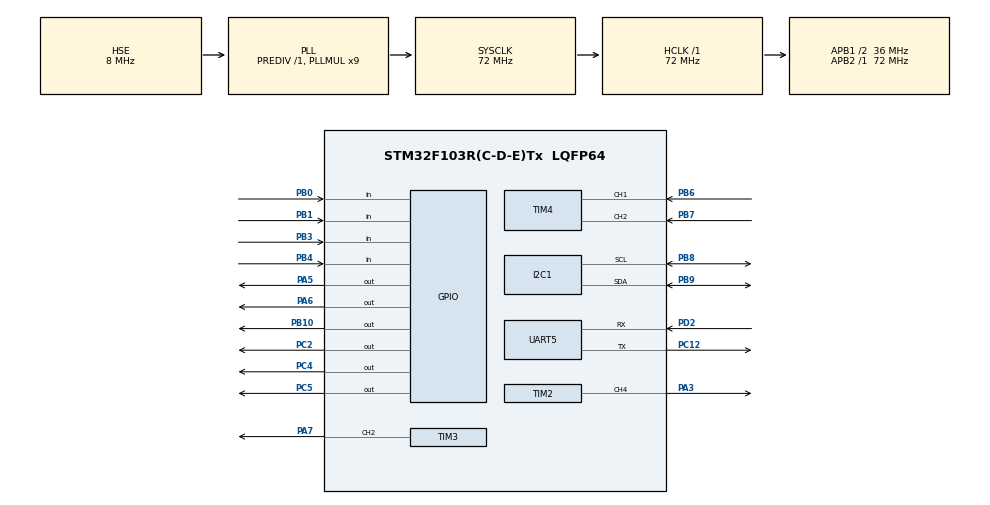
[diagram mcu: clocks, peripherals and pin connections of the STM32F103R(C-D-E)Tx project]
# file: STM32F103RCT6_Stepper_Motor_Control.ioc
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FREERTOS.Tasks01=defaultTask,0,128,StartDefaultTask,Default,NULL,Dynamic,NULL,NULL;ROTARY_ENCODER,-3,128,ROTARY_ENCODER_TASK_RUN,Default,NULL,Dynamic,NULL,NULL;STEPPER_MOTOR_T,-3,128,STEPPER_MOTOR_TASK_RUN,Default,NULL,Dynamic,NULL,NULL
Mcu.Family=STM32F1
Mcu.Name=STM32F103R(C-D-E)Tx
Mcu.Package=LQFP64
NVIC.PriorityGroup=NVIC_PRIORITYGROUP_4
NVIC.UART5_IRQn=true\:5\:0\:false\:false\:true\:true\:true\:true
PA13.Mode=Serial_Wire
PA13.Signal=SYS_JTMS-SWDIO
PA14.Mode=Serial_Wire
PA14.Signal=SYS_JTCK-SWCLK
PA3.Signal=S_TIM2_CH4
PA5.Signal=GPIO_Output
PA6.Signal=GPIO_Output
PA7.Signal=S_TIM3_CH2
PB0.Signal=GPIO_Input
PB1.Signal=GPIO_Input
PB10.Signal=GPIO_Output
PB3.Signal=GPIO_Input
PB4.Signal=GPIO_Input
PB6.Signal=S_TIM4_CH1
PB7.Signal=S_TIM4_CH2
PB8.Mode=I2C
PB8.Signal=I2C1_SCL
PB9.Mode=I2C
PB9.Signal=I2C1_SDA
PC12.Mode=Asynchronous
PC12.Signal=UART5_TX
PC2.Signal=GPIO_Output
PC4.Signal=GPIO_Output
PC5.Signal=GPIO_Output
PD0-OSC_IN.Mode=HSE-External-Oscillator
PD0-OSC_IN.Signal=RCC_OSC_IN
PD1-OSC_OUT.Mode=HSE-External-Oscillator
PD1-OSC_OUT.Signal=RCC_OSC_OUT
PD2.Mode=Asynchronous
PD2.Signal=UART5_RX
ProjectManager.HeapSize=0x200
ProjectManager.StackSize=0x400
ProjectManager.TargetToolchain=EWARM V8.32
RCC.AHBFreq_Value=72000000
RCC.APB1CLKDivider=RCC_HCLK_DIV2
RCC.APB1Freq_Value=36000000
RCC.APB1TimFreq_Value=72000000
RCC.APB2Freq_Value=72000000
RCC.APB2TimFreq_Value=72000000
RCC.HCLKFreq_Value=72000000
RCC.PLLMUL=RCC_PLL_MUL9
RCC.PLLSourceVirtual=RCC_PLLSOURCE_HSE
RCC.SYSCLKFreq_VALUE=72000000
RCC.SYSCLKSource=RCC_SYSCLKSOURCE_PLLCLK
RCC.USBFreq_Value=72000000
SH.S_TIM2_CH4.0=TIM2_CH4,PWM Generation4 CH4
SH.S_TIM3_CH2.0=TIM3_CH2,PWM Generation2 CH2
SH.S_TIM4_CH1.0=TIM4_CH1,Encoder_Interface
SH.S_TIM4_CH2.0=TIM4_CH2,Encoder_Interface
TIM2.AutoReloadPreload=TIM_AUTORELOAD_PRELOAD_ENABLE
TIM2.Channel-PWM\ Generation4\ CH4=TIM_CHANNEL_4
TIM2.Period=2600-1
TIM2.Prescaler=64-1
TIM3.AutoReloadPreload=TIM_AUTORELOAD_PRELOAD_ENABLE
TIM3.Channel-PWM\ Generation2\ CH2=TIM_CHANNEL_2
TIM3.Period=2600-1
TIM3.Prescaler=64-1
TIM4.EncoderMode=TIM_ENCODERMODE_TI12
TIM4.IC1Filter=10
TIM4.IC2Filter=10
UART5.VirtualMode=Asynchronous
VP_FREERTOS_VS_CMSIS_V1.Mode=CMSIS_V1
VP_TIM2_VS_ClockSourceINT.Mode=Internal
VP_TIM3_VS_ClockSourceINT.Mode=Internal
board=custom

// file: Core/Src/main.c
/* USER CODE BEGIN Header */
/**
  ******************************************************************************
  * @file           : main.c
  * @brief          : Main program body
  ******************************************************************************
  * @attention
  *
  * <h2><center>&copy; Copyright (c) 2021 STMicroelectronics.
  * All rights reserved.</center></h2>
  *
  * This software component is licensed by ST under BSD 3-Clause license,
  * the "License"; You may not use this file except in compliance with the
  * License. You may obtain a copy of the License at:
  *                        opensource.org/licenses/BSD-3-Clause
  *
  ******************************************************************************
  */
/* USER CODE END Header */
#include "main.h"
#include "cmsis_os.h"

/* USER CODE BEGIN Includes */
#include "APPLICATION_SETTINGS.h"
#include "LEDs/main_app_led.h"
#include "LCD_PCF8574/i2c-lcd.h"
#include "QUEUEs/queue_type.h"
#include "ROTARY_ENCODER/rotary_encoder_state_mashine.h"
#include "STEPPER_MOTOR/stepper_motor_state_mashine.h"
#include "STEPPER_MOTOR/execute_stepper_motor.h"
#include <stdio.h>
/* USER CODE END Includes */

I2C_HandleTypeDef hi2c1;

TIM_HandleTypeDef htim2;
TIM_HandleTypeDef htim3;
TIM_HandleTypeDef htim4;

UART_HandleTypeDef huart5;

osThreadId defaultTaskHandle;
osThreadId ROTARY_ENCODERHandle;
osThreadId STEPPER_MOTOR_THandle;
/* USER CODE BEGIN PV */
TIM_HandleTypeDef *Encoder_Timer = NULL;
UART_HandleTypeDef *Debug_UART = NULL;
osMessageQDef(MsgBox, 16, QUEUE_MOTOR_t);              // Define message queue
extern osMessageQId  MsgBox;
/* USER CODE END PV */

void SystemClock_Config(void);
static void MX_GPIO_Init(void);
static void MX_TIM4_Init(void);
static void MX_TIM2_Init(void);
static void MX_TIM3_Init(void);
static void MX_I2C1_Init(void);
static void MX_UART5_Init(void);
void StartDefaultTask(void const * argument);
void ROTARY_ENCODER_TASK_RUN(void const * argument);
void STEPPER_MOTOR_TASK_RUN(void const * argument);

/* USER CODE BEGIN 0 */
void MAIN_APP_INIT(void)
{
  ROTARY_ENCODER_Init_Reference_Motor_Object_Ready(STEPPER_MOTOR_Get_Motor_Object_Ready_Flag);
}
/* USER CODE END 0 */

int main(void)
{
  /* USER CODE BEGIN 1 */
  volatile uint32_t start_del = 0;
  for(start_del = 0; start_del < 0x001FFFFF; start_del++) {};
  /* USER CODE END 1 */

  /* MCU Configuration--------------------------------------------------------*/

  /* Reset of all peripherals, Initializes the Flash interface and the Systick. */
  HAL_Init();

  /* Configure the system clock */
  SystemClock_Config();

  /* Initialize all configured peripherals */
  MX_GPIO_Init();
  MX_TIM4_Init();
  MX_TIM2_Init();
  MX_TIM3_Init();
  MX_I2C1_Init();
  MX_UART5_Init();
  /* USER CODE BEGIN 2 */
  HAL_Delay(500);

  Encoder_Timer = &htim4;
  // HAL_TIM_Encoder_Start(&htim4, TIM_CHANNEL_ALL);
  // HAL_Delay(500);

  htim3.Instance->ARR = 50000;  // set period
  htim3.Instance->CCR2 = 0;     // set duty
  // HAL_TIM_PWM_Start(&htim3, TIM_CHANNEL_2);

  htim2.Instance->ARR = 40000;  // set period
  htim2.Instance->CCR4 = 0;     // set duty
  // HAL_TIM_PWM_Start(&htim2, TIM_CHANNEL_4);

  SET_BIT(huart5.Instance->CR1, (USART_CR1_RXNEIE)); // Enable uart5 RX interrupt
  Debug_UART = &huart5;

  HAL_GPIO_WritePin(GPIOB, GPIO_PIN_10, GPIO_PIN_RESET); // Enable sn74hc541
  HAL_Delay(500);

  MAIN_APP_INIT();

  lcd_init ();
  HAL_Delay(500);
  // lcd_clear ();
  // lcd_put_cur(0, 0);
  lcd_send_string ("Potato planting");
  HAL_Delay(1000);
  lcd_put_cur(1, 0);
  lcd_send_string("machine");
  HAL_Delay(2000);
  // lcd_clear ();
  lcd_put_cur(0, 0);

  /* USER CODE END 2 */

  /* USER CODE BEGIN RTOS_QUEUES */
   MsgBox = osMessageCreate(osMessageQ(MsgBox), NULL);  // create msg queue
  /* USER CODE END RTOS_QUEUES */

  /* Create the thread(s) */
  /* definition and creation of defaultTask */
  osThreadDef(defaultTask, StartDefaultTask, osPriorityNormal, 0, 128);
  defaultTaskHandle = osThreadCreate(osThread(defaultTask), NULL);

  /* definition and creation of ROTARY_ENCODER */
  osThreadDef(ROTARY_ENCODER, ROTARY_ENCODER_TASK_RUN, osPriorityIdle, 0, 128);
  ROTARY_ENCODERHandle = osThreadCreate(osThread(ROTARY_ENCODER), NULL);

  /* definition and creation of STEPPER_MOTOR_T */
  osThreadDef(STEPPER_MOTOR_T, STEPPER_MOTOR_TASK_RUN, osPriorityIdle, 0, 128);
  STEPPER_MOTOR_THandle = osThreadCreate(osThread(STEPPER_MOTOR_T), NULL);

  /* USER CODE BEGIN RTOS_THREADS */
  /* add threads, ... */
  HAL_UART_Transmit(Debug_UART, "\r\n ... RUN OS ... \r\n", sizeof("\r\n ... RUN OS ... \r\n"), 10);
  /* USER CODE END RTOS_THREADS */

  /* Start scheduler */
  osKernelStart();

  /* We should never get here as control is now taken by the scheduler */
  /* Infinite loop */
  /* USER CODE BEGIN WHILE */
  while (1)
  {
    htim3.Instance->CCR2 = 300;   // set duty
    htim2.Instance->CCR4 = 0;     // set duty

    HAL_GPIO_WritePin(GPIOA, GPIO_PIN_3, GPIO_PIN_SET);
    HAL_GPIO_WritePin(GPIOA, GPIO_PIN_5, GPIO_PIN_SET);
    HAL_GPIO_WritePin(GPIOA, GPIO_PIN_6, GPIO_PIN_SET);
    HAL_GPIO_WritePin(GPIOA, GPIO_PIN_7, GPIO_PIN_SET);

    HAL_GPIO_WritePin(GPIOB, GPIO_PIN_0, GPIO_PIN_SET);
    HAL_GPIO_WritePin(GPIOB, GPIO_PIN_1, GPIO_PIN_SET);

    HAL_GPIO_WritePin(GPIOC, GPIO_PIN_2, GPIO_PIN_SET);
    HAL_GPIO_WritePin(GPIOC, GPIO_PIN_4, GPIO_PIN_SET);
    HAL_GPIO_WritePin(GPIOC, GPIO_PIN_5, GPIO_PIN_SET);
    HAL_Delay(500);

    htim3.Instance->CCR2 = 0;     // set duty
    htim2.Instance->CCR4 = 300;   // set duty

    HAL_GPIO_WritePin(GPIOA, GPIO_PIN_3, GPIO_PIN_RESET);
    HAL_GPIO_WritePin(GPIOA, GPIO_PIN_5, GPIO_PIN_RESET);
    HAL_GPIO_WritePin(GPIOA, GPIO_PIN_6, GPIO_PIN_RESET);
    HAL_GPIO_WritePin(GPIOA, GPIO_PIN_7, GPIO_PIN_RESET);

    HAL_GPIO_WritePin(GPIOB, GPIO_PIN_0, GPIO_PIN_RESET);
    HAL_GPIO_WritePin(GPIOB, GPIO_PIN_1, GPIO_PIN_RESET);

    HAL_GPIO_WritePin(GPIOC, GPIO_PIN_2, GPIO_PIN_RESET);
    HAL_GPIO_WritePin(GPIOC, GPIO_PIN_4, GPIO_PIN_RESET);
    HAL_GPIO_WritePin(GPIOC, GPIO_PIN_5, GPIO_PIN_RESET);
    HAL_Delay(500);
    /* USER CODE END WHILE */

  }
}

void SystemClock_Config(void)
{
  RCC_OscInitTypeDef RCC_OscInitStruct = {0};
  RCC_ClkInitTypeDef RCC_ClkInitStruct = {0};

  /** Initializes the RCC Oscillators according to the specified parameters
  * in the RCC_OscInitTypeDef structure.
  */
  RCC_OscInitStruct.OscillatorType = RCC_OSCILLATORTYPE_HSE;
  RCC_OscInitStruct.HSEState = RCC_HSE_ON;
  RCC_OscInitStruct.HSEPredivValue = RCC_HSE_PREDIV_DIV1;
  RCC_OscInitStruct.HSIState = RCC_HSI_ON;
  RCC_OscInitStruct.PLL.PLLState = RCC_PLL_ON;
  RCC_OscInitStruct.PLL.PLLSource = RCC_PLLSOURCE_HSE;
  RCC_OscInitStruct.PLL.PLLMUL = RCC_PLL_MUL9;
  if (HAL_RCC_OscConfig(&RCC_OscInitStruct) != HAL_OK)
  {
    Error_Handler();
  }
  /** Initializes the CPU, AHB and APB buses clocks
  */
  RCC_ClkInitStruct.ClockType = RCC_CLOCKTYPE_HCLK|RCC_CLOCKTYPE_SYSCLK
                              |RCC_CLOCKTYPE_PCLK1|RCC_CLOCKTYPE_PCLK2;
  RCC_ClkInitStruct.SYSCLKSource = RCC_SYSCLKSOURCE_PLLCLK;
  RCC_ClkInitStruct.AHBCLKDivider = RCC_SYSCLK_DIV1;
  RCC_ClkInitStruct.APB1CLKDivider = RCC_HCLK_DIV2;
  RCC_ClkInitStruct.APB2CLKDivider = RCC_HCLK_DIV1;

  if (HAL_RCC_ClockConfig(&RCC_ClkInitStruct, FLASH_LATENCY_2) != HAL_OK)
  {
    Error_Handler();
  }
}

static void MX_I2C1_Init(void)
{

  hi2c1.Instance = I2C1;
  hi2c1.Init.ClockSpeed = 100000;
  hi2c1.Init.DutyCycle = I2C_DUTYCYCLE_2;
  hi2c1.Init.OwnAddress1 = 0;
  hi2c1.Init.AddressingMode = I2C_ADDRESSINGMODE_7BIT;
  hi2c1.Init.DualAddressMode = I2C_DUALADDRESS_DISABLE;
  hi2c1.Init.OwnAddress2 = 0;
  hi2c1.Init.GeneralCallMode = I2C_GENERALCALL_DISABLE;
  hi2c1.Init.NoStretchMode = I2C_NOSTRETCH_DISABLE;
  if (HAL_I2C_Init(&hi2c1) != HAL_OK)
  {
    Error_Handler();
  }

}

static void MX_TIM2_Init(void)
{

  TIM_ClockConfigTypeDef sClockSourceConfig = {0};
  TIM_MasterConfigTypeDef sMasterConfig = {0};
  TIM_OC_InitTypeDef sConfigOC = {0};

  htim2.Instance = TIM2;
  htim2.Init.Prescaler = 64-1;
  htim2.Init.CounterMode = TIM_COUNTERMODE_UP;
  htim2.Init.Period = 2600-1;
  htim2.Init.ClockDivision = TIM_CLOCKDIVISION_DIV1;
  htim2.Init.AutoReloadPreload = TIM_AUTORELOAD_PRELOAD_ENABLE;
  if (HAL_TIM_Base_Init(&htim2) != HAL_OK)
  {
    Error_Handler();
  }
  sClockSourceConfig.ClockSource = TIM_CLOCKSOURCE_INTERNAL;
  if (HAL_TIM_ConfigClockSource(&htim2, &sClockSourceConfig) != HAL_OK)
  {
    Error_Handler();
  }
  if (HAL_TIM_PWM_Init(&htim2) != HAL_OK)
  {
    Error_Handler();
  }
  sMasterConfig.MasterOutputTrigger = TIM_TRGO_RESET;
  sMasterConfig.MasterSlaveMode = TIM_MASTERSLAVEMODE_DISABLE;
  if (HAL_TIMEx_MasterConfigSynchronization(&htim2, &sMasterConfig) != HAL_OK)
  {
    Error_Handler();
  }
  sConfigOC.OCMode = TIM_OCMODE_PWM1;
  sConfigOC.Pulse = 0;
  sConfigOC.OCPolarity = TIM_OCPOLARITY_HIGH;
  sConfigOC.OCFastMode = TIM_OCFAST_DISABLE;
  if (HAL_TIM_PWM_ConfigChannel(&htim2, &sConfigOC, TIM_CHANNEL_4) != HAL_OK)
  {
    Error_Handler();
  }
  HAL_TIM_MspPostInit(&htim2);

}

static void MX_TIM3_Init(void)
{

  TIM_ClockConfigTypeDef sClockSourceConfig = {0};
  TIM_MasterConfigTypeDef sMasterConfig = {0};
  TIM_OC_InitTypeDef sConfigOC = {0};

  htim3.Instance = TIM3;
  htim3.Init.Prescaler = 64-1;
  htim3.Init.CounterMode = TIM_COUNTERMODE_UP;
  htim3.Init.Period = 2600-1;
  htim3.Init.ClockDivision = TIM_CLOCKDIVISION_DIV1;
  htim3.Init.AutoReloadPreload = TIM_AUTORELOAD_PRELOAD_ENABLE;
  if (HAL_TIM_Base_Init(&htim3) != HAL_OK)
  {
    Error_Handler();
  }
  sClockSourceConfig.ClockSource = TIM_CLOCKSOURCE_INTERNAL;
  if (HAL_TIM_ConfigClockSource(&htim3, &sClockSourceConfig) != HAL_OK)
  {
    Error_Handler();
  }
  if (HAL_TIM_PWM_Init(&htim3) != HAL_OK)
  {
    Error_Handler();
  }
  sMasterConfig.MasterOutputTrigger = TIM_TRGO_RESET;
  sMasterConfig.MasterSlaveMode = TIM_MASTERSLAVEMODE_DISABLE;
  if (HAL_TIMEx_MasterConfigSynchronization(&htim3, &sMasterConfig) != HAL_OK)
  {
    Error_Handler();
  }
  sConfigOC.OCMode = TIM_OCMODE_PWM1;
  sConfigOC.Pulse = 0;
  sConfigOC.OCPolarity = TIM_OCPOLARITY_HIGH;
  sConfigOC.OCFastMode = TIM_OCFAST_DISABLE;
  if (HAL_TIM_PWM_ConfigChannel(&htim3, &sConfigOC, TIM_CHANNEL_2) != HAL_OK)
  {
    Error_Handler();
  }
  HAL_TIM_MspPostInit(&htim3);

}

static void MX_TIM4_Init(void)
{

  TIM_Encoder_InitTypeDef sConfig = {0};
  TIM_MasterConfigTypeDef sMasterConfig = {0};

  htim4.Instance = TIM4;
  htim4.Init.Prescaler = 0;
  htim4.Init.CounterMode = TIM_COUNTERMODE_UP;
  htim4.Init.Period = 65535;
  htim4.Init.ClockDivision = TIM_CLOCKDIVISION_DIV1;
  htim4.Init.AutoReloadPreload = TIM_AUTORELOAD_PRELOAD_DISABLE;
  sConfig.EncoderMode = TIM_ENCODERMODE_TI12;
  sConfig.IC1Polarity = TIM_ICPOLARITY_RISING;
  sConfig.IC1Selection = TIM_ICSELECTION_DIRECTTI;
  sConfig.IC1Prescaler = TIM_ICPSC_DIV1;
  sConfig.IC1Filter = 10;
  sConfig.IC2Polarity = TIM_ICPOLARITY_RISING;
  sConfig.IC2Selection = TIM_ICSELECTION_DIRECTTI;
  sConfig.IC2Prescaler = TIM_ICPSC_DIV1;
  sConfig.IC2Filter = 10;
  if (HAL_TIM_Encoder_Init(&htim4, &sConfig) != HAL_OK)
  {
    Error_Handler();
  }
  sMasterConfig.MasterOutputTrigger = TIM_TRGO_RESET;
  sMasterConfig.MasterSlaveMode = TIM_MASTERSLAVEMODE_DISABLE;
  if (HAL_TIMEx_MasterConfigSynchronization(&htim4, &sMasterConfig) != HAL_OK)
  {
    Error_Handler();
  }

}

static void MX_UART5_Init(void)
{

  huart5.Instance = UART5;
  huart5.Init.BaudRate = 115200;
  huart5.Init.WordLength = UART_WORDLENGTH_8B;
  huart5.Init.StopBits = UART_STOPBITS_1;
  huart5.Init.Parity = UART_PARITY_NONE;
  huart5.Init.Mode = UART_MODE_TX_RX;
  huart5.Init.HwFlowCtl = UART_HWCONTROL_NONE;
  huart5.Init.OverSampling = UART_OVERSAMPLING_16;
  if (HAL_UART_Init(&huart5) != HAL_OK)
  {
    Error_Handler();
  }

}

static void MX_GPIO_Init(void)
{
  GPIO_InitTypeDef GPIO_InitStruct = {0};

  /* GPIO Ports Clock Enable */
  __HAL_RCC_GPIOD_CLK_ENABLE();
  __HAL_RCC_GPIOC_CLK_ENABLE();
  __HAL_RCC_GPIOA_CLK_ENABLE();
  __HAL_RCC_GPIOB_CLK_ENABLE();

  /*Configure GPIO pin Output Level */
  HAL_GPIO_WritePin(GPIOC, GPIO_PIN_2|GPIO_PIN_4|GPIO_PIN_5, GPIO_PIN_RESET);

  /*Configure GPIO pin Output Level */
  HAL_GPIO_WritePin(GPIOA, GPIO_PIN_5|GPIO_PIN_6, GPIO_PIN_RESET);

  /*Configure GPIO pin Output Level */
  HAL_GPIO_WritePin(GPIOB, GPIO_PIN_10, GPIO_PIN_RESET);

  /*Configure GPIO pins : PC2 PC4 PC5 */
  GPIO_InitStruct.Pin = GPIO_PIN_2|GPIO_PIN_4|GPIO_PIN_5;
  GPIO_InitStruct.Mode = GPIO_MODE_OUTPUT_PP;
  GPIO_InitStruct.Pull = GPIO_NOPULL;
  GPIO_InitStruct.Speed = GPIO_SPEED_FREQ_LOW;
  HAL_GPIO_Init(GPIOC, &GPIO_InitStruct);

  /*Configure GPIO pins : PA5 PA6 */
  GPIO_InitStruct.Pin = GPIO_PIN_5|GPIO_PIN_6;
  GPIO_InitStruct.Mode = GPIO_MODE_OUTPUT_PP;
  GPIO_InitStruct.Pull = GPIO_NOPULL;
  GPIO_InitStruct.Speed = GPIO_SPEED_FREQ_LOW;
  HAL_GPIO_Init(GPIOA, &GPIO_InitStruct);

  /*Configure GPIO pins : PB0 PB1 PB3 PB4 */
  GPIO_InitStruct.Pin = GPIO_PIN_0|GPIO_PIN_1|GPIO_PIN_3|GPIO_PIN_4;
  GPIO_InitStruct.Mode = GPIO_MODE_INPUT;
  GPIO_InitStruct.Pull = GPIO_NOPULL;
  HAL_GPIO_Init(GPIOB, &GPIO_InitStruct);

  /*Configure GPIO pin : PB10 */
  GPIO_InitStruct.Pin = GPIO_PIN_10;
  GPIO_InitStruct.Mode = GPIO_MODE_OUTPUT_PP;
  GPIO_InitStruct.Pull = GPIO_NOPULL;
  GPIO_InitStruct.Speed = GPIO_SPEED_FREQ_LOW;
  HAL_GPIO_Init(GPIOB, &GPIO_InitStruct);

}

void StartDefaultTask(void const * argument)
{
  for(;;)
  {
    osDelay(1);
  }
}

void ROTARY_ENCODER_TASK_RUN(void const * argument)
{
  /* USER CODE BEGIN ROTARY_ENCODER_TASK_RUN */
  // HAL_UART_Transmit(Debug_UART, "RUN ROTARY_ENCODER_Init_State_Mashine\r\n", sizeof("RUN ROTARY_ENCODER_Init_State_Mashine\r\n"), 10);

  ROTARY_ENCODER_Init_State_Mashine();

  HAL_TIM_Encoder_Start(&htim4, TIM_CHANNEL_ALL);
  osDelay(1000);
  /* Infinite loop */
  HAL_UART_Transmit(Debug_UART, "RUN_ENCODER_THREAD\r\n", sizeof("RUN_ENCODER_THREAD\r\n"), 10);
  for(;;)
  {
    ROTARY_ENCODER_Run_State_Mashine();

    // HAL_GPIO_WritePin(GPIOC, GPIO_PIN_13, GPIO_PIN_RESET);  // Led on Board
    osDelay(os_delay_rotary_encoder);
    // HAL_GPIO_WritePin(GPIOC, GPIO_PIN_13, GPIO_PIN_SET);   // Led on Board
  }
  /* USER CODE END ROTARY_ENCODER_TASK_RUN */
}

void STEPPER_MOTOR_TASK_RUN(void const * argument)
{
  /* USER CODE BEGIN STEPPER_MOTOR_TASK_RUN */
  // HAL_UART_Transmit(Debug_UART, "RUN_STEPPER_MOTOR_Init_State_Mashine\r\n", sizeof("RUN_STEPPER_MOTOR_Init_State_Mashine\r\n"), 10);
  STEPPER_MOTOR_Init_State_Mashine();

  htim3.Instance->CCR2 = 300;   // set duty
  htim3.Instance->ARR = 50000;  // set period
  htim2.Instance->CCR4 = 200;   // set duty
  htim2.Instance->ARR = 40000;  // set period
  HAL_TIM_PWM_Start(&htim3, TIM_CHANNEL_2);
  HAL_TIM_PWM_Start(&htim2, TIM_CHANNEL_4);
  /* Infinite loop */
  HAL_UART_Transmit(Debug_UART, "RUN_STEPPER_MOTOR_THREAD\r\n", sizeof("RUN_STEPPER_MOTOR_THREAD\r\n"), 10);
  for(;;)
  {
//    HAL_GPIO_WritePin(GPIOA, GPIO_PIN_3, GPIO_PIN_SET);
//    HAL_GPIO_WritePin(GPIOA, GPIO_PIN_5, GPIO_PIN_SET);
//    HAL_GPIO_WritePin(GPIOA, GPIO_PIN_6, GPIO_PIN_SET);
//    HAL_GPIO_WritePin(GPIOA, GPIO_PIN_7, GPIO_PIN_SET);
//
//    HAL_GPIO_WritePin(GPIOB, GPIO_PIN_0, GPIO_PIN_SET);
//    HAL_GPIO_WritePin(GPIOB, GPIO_PIN_1, GPIO_PIN_SET);
//
//    HAL_GPIO_WritePin(GPIOC, GPIO_PIN_2, GPIO_PIN_SET);
//    HAL_GPIO_WritePin(GPIOC, GPIO_PIN_4, GPIO_PIN_SET);
//    HAL_GPIO_WritePin(GPIOC, GPIO_PIN_5, GPIO_PIN_SET);

//    osDelay(500);

//    HAL_GPIO_WritePin(GPIOA, GPIO_PIN_3, GPIO_PIN_RESET);
//    HAL_GPIO_WritePin(GPIOA, GPIO_PIN_5, GPIO_PIN_RESET);
//    HAL_GPIO_WritePin(GPIOA, GPIO_PIN_6, GPIO_PIN_RESET);
//    HAL_GPIO_WritePin(GPIOA, GPIO_PIN_7, GPIO_PIN_RESET);
//
//    HAL_GPIO_WritePin(GPIOB, GPIO_PIN_0, GPIO_PIN_RESET);
//    HAL_GPIO_WritePin(GPIOB, GPIO_PIN_1, GPIO_PIN_RESET);
//
//    HAL_GPIO_WritePin(GPIOC, GPIO_PIN_2, GPIO_PIN_RESET);
//    HAL_GPIO_WritePin(GPIOC, GPIO_PIN_4, GPIO_PIN_RESET);
//    HAL_GPIO_WritePin(GPIOC, GPIO_PIN_5, GPIO_PIN_RESET);

//    osDelay(500);

    STEPPER_MOTOR_Run_State_Mashine();
//    LED_Step_Motor_0(true);
//    LED_Step_Motor_1(true);
    HAL_GPIO_WritePin(GPIOC, GPIO_PIN_2, GPIO_PIN_SET);
    HAL_UART_Transmit(Debug_UART, " 2. END_STEPPER_MOTOR_TASK\r\n", sizeof(" 2. END_STEPPER_MOTOR_TASK\r\n"), 10);
//    LED_Step_Motor_0(false);
//    LED_Step_Motor_1(false);
    HAL_GPIO_WritePin(GPIOC, GPIO_PIN_2, GPIO_PIN_RESET);

  }
  /* USER CODE END STEPPER_MOTOR_TASK_RUN */
}

void Error_Handler(void)
{
  __disable_irq();
  while (1)
  {
  }
}

/************************ (C) COPYRIGHT STMicroelectronics *****END OF FILE****/
